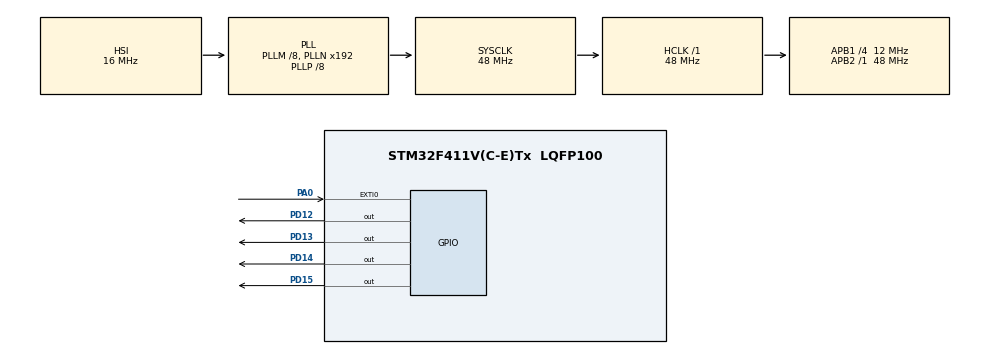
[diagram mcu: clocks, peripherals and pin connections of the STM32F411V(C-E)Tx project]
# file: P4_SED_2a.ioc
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Mcu.Family=STM32F4
Mcu.Name=STM32F411V(C-E)Tx
Mcu.Package=LQFP100
NVIC.EXTI0_IRQn=true\:0\:0\:false\:false\:true\:true\:true\:true
NVIC.PriorityGroup=NVIC_PRIORITYGROUP_0
PA0-WKUP.Signal=GPXTI0
PD12.Signal=GPIO_Output
PD13.Signal=GPIO_Output
PD14.Signal=GPIO_Output
PD15.Signal=GPIO_Output
ProjectManager.HeapSize=0x200
ProjectManager.StackSize=0x400
ProjectManager.TargetToolchain=STM32CubeIDE
RCC.48MHZClocksFreq_Value=48000000
RCC.AHBFreq_Value=48000000
RCC.APB1CLKDivider=RCC_HCLK_DIV4
RCC.APB1Freq_Value=12000000
RCC.APB1TimFreq_Value=24000000
RCC.APB2Freq_Value=48000000
RCC.APB2TimFreq_Value=48000000
RCC.CortexFreq_Value=48000000
RCC.HCLKFreq_Value=48000000
RCC.HSE_VALUE=8000000
RCC.HSI_VALUE=16000000
RCC.PLLI2SM=5
RCC.PLLI2SN=200
RCC.PLLM=8
RCC.PLLP=RCC_PLLP_DIV8
RCC.PLLQ=8
RCC.SYSCLKFreq_VALUE=48000000
RCC.SYSCLKSource=RCC_SYSCLKSOURCE_PLLCLK
RCC.VCOOutputFreq_Value=384000000
board=STM32F411E-DISCO

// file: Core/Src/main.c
/* USER CODE BEGIN Header */
/**
  ******************************************************************************
  * @file           : main.c
  * @brief          : Main program body
  ******************************************************************************
  * @attention
  *
  * Copyright (c) 2023 STMicroelectronics.
  * All rights reserved.
  *
  * This software is licensed under terms that can be found in the LICENSE file
  * in the root directory of this software component.
  * If no LICENSE file comes with this software, it is provided AS-IS.
  *
  ******************************************************************************
  */
/* USER CODE END Header */
#include "main.h"

/* USER CODE BEGIN Includes */
#include <stdlib.h>
/* USER CODE END Includes */

void SystemClock_Config(void);
static void MX_GPIO_Init(void);

/* USER CODE BEGIN 0 */
volatile uint32_t contador = 0;
volatile uint16_t flagPulsado = 0;
volatile uint32_t contadorAux = 0;
volatile uint16_t pulsacionErronea = 0;
volatile uint32_t tiempoAct;
volatile uint16_t tiempoEspera;
void HAL_GPIO_EXTI_Callback(uint16_t GPIO_Pin){
	if(GPIO_Pin == GPIO_PIN_0 && ((tiempoAct + tiempoEspera) < HAL_GetTick())){
		contador = contadorAux;
		flagPulsado = 1;
	}
	else if(GPIO_Pin == GPIO_PIN_0 && ((tiempoAct + tiempoEspera) >= HAL_GetTick())){
		pulsacionErronea = 1;
	}
}
/* USER CODE END 0 */

int main(void)
{

  /* MCU Configuration--------------------------------------------------------*/

  /* Reset of all peripherals, Initializes the Flash interface and the Systick. */
  HAL_Init();

  /* Configure the system clock */
  SystemClock_Config();

  /* Initialize all configured peripherals */
  MX_GPIO_Init();

  /* Infinite loop */
  while (1)
  {

    /* USER CODE BEGIN 3 */

	contadorAux = 0;
	pulsacionErronea = 0;

	HAL_GPIO_WritePin(GPIOD, GPIO_PIN_12, 0);
	HAL_GPIO_WritePin(GPIOD, GPIO_PIN_13, 0);
	HAL_GPIO_WritePin(GPIOD, GPIO_PIN_14, 0);
	HAL_GPIO_WritePin(GPIOD, GPIO_PIN_15, 1);

	tiempoEspera = rand () % (2000+1) + 2000;
	tiempoAct = HAL_GetTick();

	while(tiempoAct + tiempoEspera >= HAL_GetTick()){
		continue;
	}

	if(pulsacionErronea == 1){
		HAL_GPIO_WritePin(GPIOD, GPIO_PIN_15, 0);
		HAL_GPIO_TogglePin(GPIOD, GPIO_PIN_13);
		HAL_Delay(500);
		HAL_GPIO_TogglePin(GPIOD, GPIO_PIN_13);
		HAL_Delay(500);
		HAL_GPIO_TogglePin(GPIOD, GPIO_PIN_13);
		HAL_Delay(500);
		HAL_GPIO_TogglePin(GPIOD, GPIO_PIN_13);
		HAL_Delay(500);
		HAL_GPIO_TogglePin(GPIOD, GPIO_PIN_13);
		HAL_Delay(500);
		HAL_GPIO_TogglePin(GPIOD, GPIO_PIN_13);
		HAL_Delay(500);
		continue;
	}

	HAL_GPIO_WritePin(GPIOD, GPIO_PIN_12, 1);
	HAL_GPIO_WritePin(GPIOD, GPIO_PIN_15, 0);

	while (!flagPulsado){
		if(HAL_GPIO_ReadPin(GPIOD, GPIO_PIN_0)){
			HAL_GPIO_EXTI_Callback(GPIO_PIN_0);
		}
		else
			contadorAux++;
	}

	HAL_GPIO_WritePin(GPIOD, GPIO_PIN_14, 1);
	HAL_GPIO_WritePin(GPIOD, GPIO_PIN_12, 0);
	HAL_Delay(5000);
	flagPulsado = 0;
  }
  /* USER CODE END 3 */
}

void SystemClock_Config(void)
{
  RCC_OscInitTypeDef RCC_OscInitStruct = {0};
  RCC_ClkInitTypeDef RCC_ClkInitStruct = {0};

  /** Configure the main internal regulator output voltage
  */
  __HAL_RCC_PWR_CLK_ENABLE();
  __HAL_PWR_VOLTAGESCALING_CONFIG(PWR_REGULATOR_VOLTAGE_SCALE1);

  /** Initializes the RCC Oscillators according to the specified parameters
  * in the RCC_OscInitTypeDef structure.
  */
  RCC_OscInitStruct.OscillatorType = RCC_OSCILLATORTYPE_HSI;
  RCC_OscInitStruct.HSIState = RCC_HSI_ON;
  RCC_OscInitStruct.HSICalibrationValue = RCC_HSICALIBRATION_DEFAULT;
  RCC_OscInitStruct.PLL.PLLState = RCC_PLL_ON;
  RCC_OscInitStruct.PLL.PLLSource = RCC_PLLSOURCE_HSI;
  RCC_OscInitStruct.PLL.PLLM = 8;
  RCC_OscInitStruct.PLL.PLLN = 192;
  RCC_OscInitStruct.PLL.PLLP = RCC_PLLP_DIV8;
  RCC_OscInitStruct.PLL.PLLQ = 8;
  if (HAL_RCC_OscConfig(&RCC_OscInitStruct) != HAL_OK)
  {
    Error_Handler();
  }

  /** Initializes the CPU, AHB and APB buses clocks
  */
  RCC_ClkInitStruct.ClockType = RCC_CLOCKTYPE_HCLK|RCC_CLOCKTYPE_SYSCLK
                              |RCC_CLOCKTYPE_PCLK1|RCC_CLOCKTYPE_PCLK2;
  RCC_ClkInitStruct.SYSCLKSource = RCC_SYSCLKSOURCE_PLLCLK;
  RCC_ClkInitStruct.AHBCLKDivider = RCC_SYSCLK_DIV1;
  RCC_ClkInitStruct.APB1CLKDivider = RCC_HCLK_DIV4;
  RCC_ClkInitStruct.APB2CLKDivider = RCC_HCLK_DIV1;

  if (HAL_RCC_ClockConfig(&RCC_ClkInitStruct, FLASH_LATENCY_1) != HAL_OK)
  {
    Error_Handler();
  }
}

static void MX_GPIO_Init(void)
{
  GPIO_InitTypeDef GPIO_InitStruct = {0};

  /* GPIO Ports Clock Enable */
  __HAL_RCC_GPIOA_CLK_ENABLE();
  __HAL_RCC_GPIOD_CLK_ENABLE();

  /*Configure GPIO pin Output Level */
  HAL_GPIO_WritePin(GPIOD, GPIO_PIN_12|GPIO_PIN_13|GPIO_PIN_14|GPIO_PIN_15, GPIO_PIN_RESET);

  /*Configure GPIO pin : PA0 */
  GPIO_InitStruct.Pin = GPIO_PIN_0;
  GPIO_InitStruct.Mode = GPIO_MODE_IT_RISING;
  GPIO_InitStruct.Pull = GPIO_NOPULL;
  HAL_GPIO_Init(GPIOA, &GPIO_InitStruct);

  /*Configure GPIO pins : PD12 PD13 PD14 PD15 */
  GPIO_InitStruct.Pin = GPIO_PIN_12|GPIO_PIN_13|GPIO_PIN_14|GPIO_PIN_15;
  GPIO_InitStruct.Mode = GPIO_MODE_OUTPUT_PP;
  GPIO_InitStruct.Pull = GPIO_NOPULL;
  GPIO_InitStruct.Speed = GPIO_SPEED_FREQ_LOW;
  HAL_GPIO_Init(GPIOD, &GPIO_InitStruct);

  /* EXTI interrupt init*/
  HAL_NVIC_SetPriority(EXTI0_IRQn, 0, 0);
  HAL_NVIC_EnableIRQ(EXTI0_IRQn);

}

void Error_Handler(void)
{
  __disable_irq();
  while (1)
  {
  }
}
